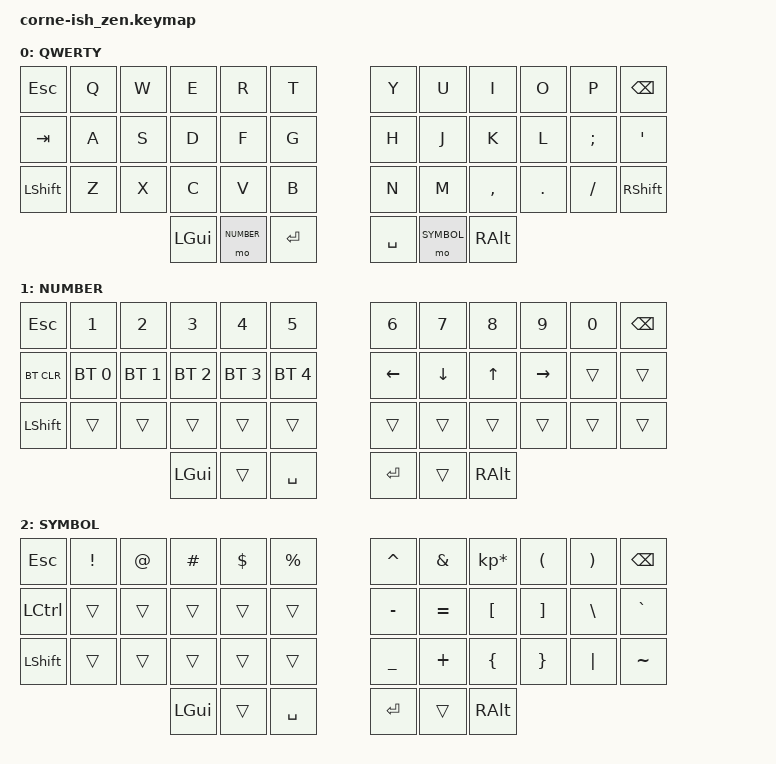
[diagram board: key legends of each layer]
/*
*
* Copyright (c) 2021 Darryl deHaan
* SPDX-License-Identifier: MIT
*
*/

#include <behaviors.dtsi>
#include <dt-bindings/zmk/keys.h>
#include <dt-bindings/zmk/bt.h>

#define QWERTY 0
#define NUMBER 1
#define SYMBOL 2
#define NUMROW 3
#define ADJUST 4
#define CONFIG 5

/ {
        keymap {
                compatible = "zmk,keymap";

                default_layer {
                        label = "QWERTY";
// -----------------------------------------------------------------------------------------
// | ESC  |  Q  |  W  |  E  |  R  |  T  |   |  Y  |  U   |  I  |  O  |  P  | BKSP |
// | TAB  |  A  |  S  |  D  |  F  |  G  |   |  H  |  J   |  K  |  L  |  ;  |  '   |
// | SHFT |  Z  |  X  |  C  |  V  |  B  |   |  N  |  M   |  ,  |  .  |  /  | SHFT |
//                    | GUI | LWR | SPC |   | ENT | RSE  | ALT |
                        bindings = <
   &kp ESC   &kp Q &kp W &kp E &kp R &kp T   &kp Y &kp U  &kp I     &kp O   &kp P    &kp BSPC
   &kp TAB   &kp A &kp S &kp D &kp F &kp G   &kp H &kp J  &kp K     &kp L   &kp SEMI &kp SQT
   &kp LSHFT &kp Z &kp X &kp C &kp V &kp B   &kp N &kp M  &kp COMMA &kp DOT &kp FSLH &kp RSHFT
               &kp LGUI &mo NUMBER &kp RET   &kp SPACE &mo SYMBOL &kp RALT
                        >;
                };
                lower_layer {
                        label = "NUMBER";
// -----------------------------------------------------------------------------------------
// |  ESC |  1  |  2  |  3  |  4  |  5  |   |  6  |  7  |  8  |  9  |  0  | BKSP |
// | BTCLR| BT1 | BT2 | BT3 | BT4 | BT5 |   | LFT | DWN |  UP | RGT |     |      |
// | SHFT |     |     |     |     |     |   |     |     |     |     |     |      |
//                    | GUI |     | SPC |   | ENT |     | ALT |
                        bindings = <
   &kp ESC    &kp N1       &kp N2       &kp N3       &kp N4       &kp N5         &kp N6   &kp N7   &kp N8 &kp N9    &kp N0 &kp BSPC
   &bt BT_CLR &bt BT_SEL 0 &bt BT_SEL 1 &bt BT_SEL 2 &bt BT_SEL 3 &bt BT_SEL 4   &kp LEFT &kp DOWN &kp UP &kp RIGHT &trans &trans
   &kp LSHFT  &trans       &trans       &trans       &trans       &trans         &trans   &trans   &trans &trans    &trans &trans
                          	        &kp LGUI     &trans       &kp SPACE      &kp RET  &trans   &kp RALT
                        >;
                };

                raise_layer {
                        label = "SYMBOL";
// -----------------------------------------------------------------------------------------
// |  ESC |  !  |  @  |  #  |  $  |  %  |   |  ^  |  &  |  *  |  (  |  )  | BKSP |
// | CTRL |     |     |     |     |     |   |  -  |  =  |  [  |  ]  |  \  |  `   |
// | SHFT |     |     |     |     |     |   |  _  |  +  |  {  |  }  | "|" |  ~   |
//                    | GUI |     | SPC |   | ENT |     | ALT |
                        bindings = <
   &kp ESC  &kp EXCL &kp AT &kp HASH &kp DLLR &kp PRCNT    &kp CARET &kp AMPS  &kp KP_MULTIPLY &kp LPAR &kp RPAR &kp BSPC
   &kp LCTRL &trans   &trans   &trans   &trans   &trans      &kp MINUS &kp EQUAL &kp LBKT        &kp RBKT &kp BSLH &kp GRAVE
   &kp LSHFT &trans   &trans   &trans   &trans   &trans      &kp UNDER &kp PLUS  &kp LBRC        &kp RBRC &kp PIPE &kp TILDE
                    	     &kp LGUI &trans   &kp SPACE   &kp RET   &trans    &kp RALT
                        >;
                };
        };
};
